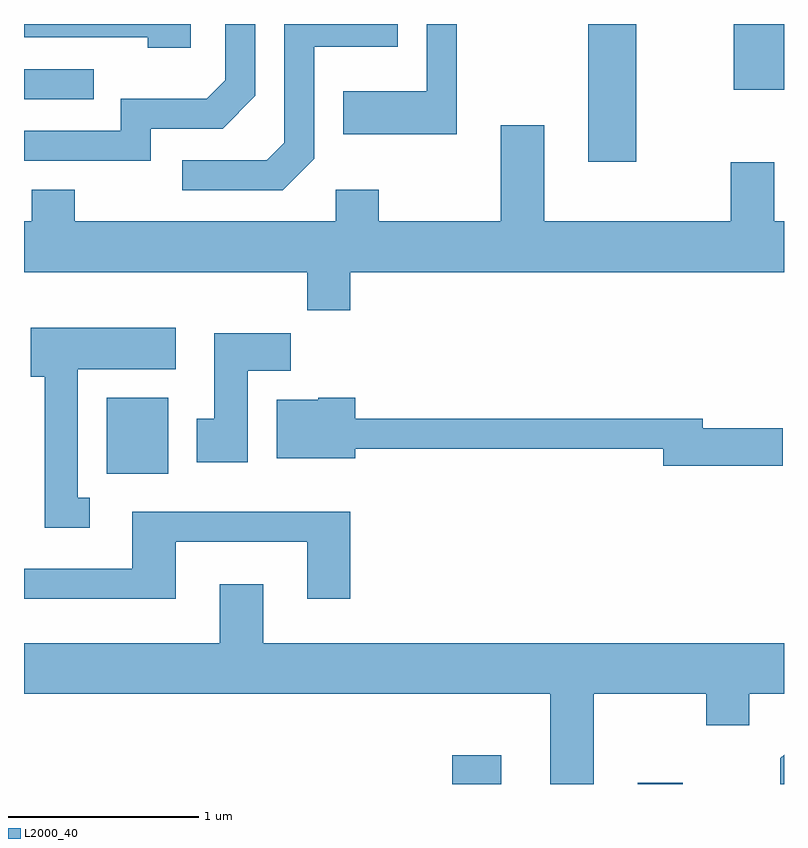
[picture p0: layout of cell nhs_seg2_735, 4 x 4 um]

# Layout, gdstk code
import gdstk
lib = gdstk.Library(unit=1e-6, precision=1e-09)
def R(c, l, rs):  # rectangles x0, y0, x1, y1
    for r in rs: c.add(gdstk.rectangle(r[:2], r[2:], *l))
def P(c, l, *ps):  # polygons
    for p in ps: c.add(gdstk.Polygon(p, *l))
L2000_40 = (2000, 40)

nhs_seg2_735 = lib.new_cell('nhs_seg2_735')
R(nhs_seg2_735, L2000_40, [(207.866,1087.802,208.124,1087.954), (208.841,1087.802,209.078,1087.809), (206.046,1089.436,206.369,1089.834), (208.581,1091.076,208.834,1091.802), (205.611,1091.406,205.978,1091.564), (209.346,1091.456,209.611,1091.802)])
P(nhs_seg2_735, L2000_40, [(206.489,1091.802),(205.611,1091.802),(205.611,1091.731),(206.261,1091.731),(206.261,1091.676),(206.489,1091.676)],
  [(207.139,1091.094),(207.139,1091.681),(207.579,1091.681),(207.579,1091.802),(206.981,1091.802),(206.981,1091.177),(206.889,1091.084),(206.443,1091.084),(206.443,1090.926),(206.972,1090.926)],
  [(207.889,1091.802),(207.731,1091.802),(207.731,1091.449),(207.291,1091.449),(207.291,1091.221),(207.889,1091.221)],
  [(206.279,1091.251),(206.657,1091.251),(206.829,1091.424),(206.829,1091.802),(206.671,1091.802),(206.671,1091.507),(206.574,1091.409),(206.121,1091.409),(206.121,1091.239),(205.611,1091.239),(205.611,1091.081),(206.279,1091.081)],
  [(207.329,1090.496),(209.611,1090.496),(209.611,1090.764),(209.559,1090.764),(209.559,1091.074),(209.331,1091.074),(209.331,1090.764),(208.349,1090.764),(208.349,1091.269),(208.121,1091.269),(208.121,1090.764),(207.479,1090.764),(207.479,1090.929),(207.251,1090.929),(207.251,1090.764),(205.879,1090.764),(205.879,1090.929),(205.651,1090.929),(205.651,1090.764),(205.611,1090.764),(205.611,1090.496),(207.101,1090.496),(207.101,1090.296),(207.329,1090.296)],
  [(205.958,1089.309),(205.894,1089.309),(205.894,1089.986),(206.409,1089.986),(206.409,1090.204),(205.646,1090.204),(205.646,1089.946),(205.721,1089.946),(205.721,1089.151),(205.958,1089.151)],
  [(206.789,1089.976),(207.014,1089.976),(207.014,1090.174),(206.611,1090.174),(206.611,1089.724),(206.521,1089.724),(206.521,1089.496),(206.789,1089.496)],
  [(209.604,1089.674),(209.184,1089.674),(209.184,1089.724),(207.354,1089.724),(207.354,1089.834),(207.16,1089.834),(207.16,1089.824),(206.941,1089.824),(206.941,1089.516),(207.354,1089.516),(207.354,1089.566),(208.976,1089.566),(208.976,1089.476),(209.604,1089.476)],
  [(206.409,1089.076),(207.101,1089.076),(207.101,1088.776),(207.329,1088.776),(207.329,1089.234),(206.181,1089.234),(206.181,1088.934),(205.611,1088.934),(205.611,1088.776),(206.409,1088.776)],
  [(208.609,1088.276),(209.201,1088.276),(209.201,1088.111),(209.429,1088.111),(209.429,1088.276),(209.611,1088.276),(209.611,1088.544),(206.869,1088.544),(206.869,1088.854),(206.641,1088.854),(206.641,1088.544),(205.611,1088.544),(205.611,1088.276),(208.381,1088.276),(208.381,1087.802),(208.609,1087.802)],
  [(209.611,1087.957),(209.591,1087.937),(209.591,1087.802),(209.611,1087.802)])

lib.write_gds('nhs_seg2_735.gds')
